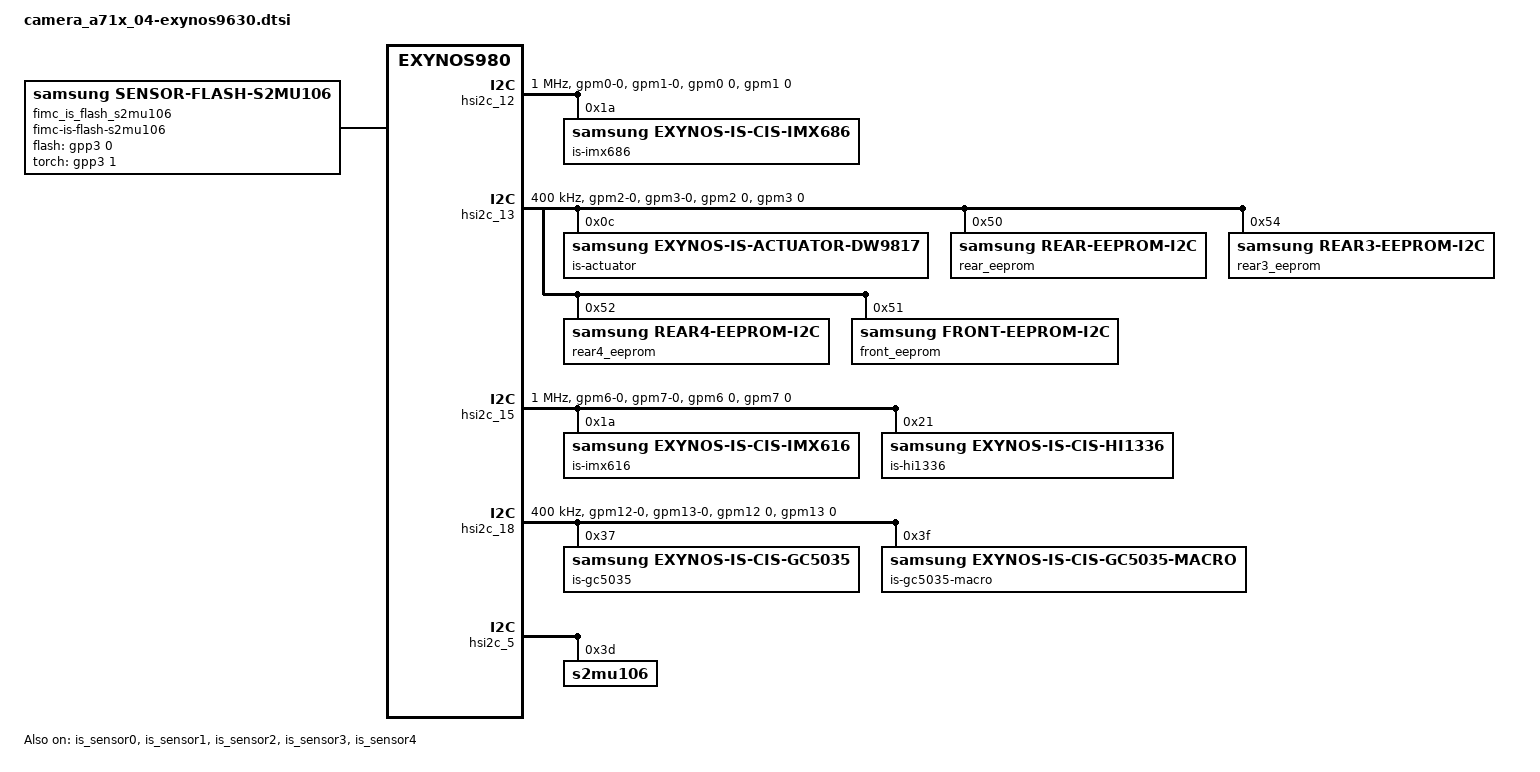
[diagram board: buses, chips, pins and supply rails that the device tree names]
/*
 * Samsung Exynos SoC series Pablo driver
 *
 * Copyright (c) 2019 Samsung Electronics Co., Ltd
 *
 * This program is free software; you can redistribute it and/or modify
 * it under the terms of the GNU General Public License version 2 as
 * published by the Free Software Foundation.
 */

#include <dt-bindings/camera/exynos_is_dt.h>
#include <dt-bindings/interrupt-controller/exynos9630.h>
#include <dt-bindings/clock/exynos9630.h>

#include "../../camera/vendor_dt/a71x/is-vendor-sensor-pwr_aas_v71x_r04.h"
#include "../../camera/vendor_dt/a71x/camera_a71x_common_exynos980.dtsi"
#include "../../camera/module_imx686.dtsi"
#include "../../camera/module_imx616.dtsi"
#include "../../camera/module_hi1336.dtsi"
#include "../../camera/module_gc5035.dtsi"

/***** reference camera node *****/
/ {
	fragment@camera {
		target-path = "/";
		__overlay__ {
			/* REAR CAMERA */
			is_sensor_imx686: is_sensor_imx686@1A {
				pinctrl-names = "pin0", "pin1", "pin2", "release";
				pinctrl-0 = <&sensor_mclk1_out>;
				pinctrl-1 = <&sensor_mclk1_fn>;
				pinctrl-2 = <>;
				pinctrl-3 = <>;

				id = <0>;				/* id of is_sensor*/
				mclk_ch = <1>;
				sensor_i2c_ch = <0>;			/* SENSOR_CONTROL_I2C0 */
				position = <0>;				/* Rear:0 */

				status = "okay";

				af {
					product_name = <26>;		/* ACTUATOR_NAME_DW9817 */
					i2c_ch = <1>;			/* SENSOR_CONTROL_I2C1 */
				};

				flash {
					product_name = <14>;		/* FLADRV_NAME_S2MU106 */
				};

				power_seq {
					use = <1>;
					gpio_mclk = <&gpg0 4 0x1>;

					scenario_normal_on {
						sensor_scenario = <SENSOR_SCENARIO_NORMAL>;
						gpio_scenario = <GPIO_SCENARIO_ON>;

						/* A start node number should be over the 10 for reserved number 0~9. */
						/* pname = "name"; 		pin = <act value dealy voltage>;	gpio = <gpx# # 0x1>; */
						10 { pname = SEN_RST_LOW;	pin = <PIN_OUTPUT 0 1000>;		gpio = IMX686_RST;	};
						20 { pname = "imx686_avdd1";	pin = <PIN_REGULATOR 1 0>;				};	/* AVDD1 2.9V */
						30 { pname = "imx686_avdd2";	pin = <PIN_OUTPUT 1 0>;			gpio = IMX686_AVDD2;	};	/* AVDD2 1.8V */
						40 { pname = "imx686_iovdd";	pin = <PIN_REGULATOR 1 0>;				};	/* IOVDD 1.8V */
						50 { pname = "imx686_dvdd";	pin = <PIN_REGULATOR 1 0>;				};	/* DVDD 1.1V */
						60 { pname = "rcam_af_vdd";	pin = <PIN_REGULATOR 1 1000>;				};	/* RCAM_AF_VDD 2.8V */
						70 { pname = I2C_ON;		pin = <PIN_I2C 1 500>;					};
						80 { pname = MCLK_FUNC;		pin = <PIN_FUNCTION 1 0>;		share;		};
						90 { pname = MCLK_GPIO;		pin = <PIN_MCLK 1 500>;					};
						100 { pname = SEN_RST_HIGH;	pin = <PIN_OUTPUT 1 0>;			gpio = IMX686_RST;	};
						110 { pname = DELAY;		pin = <PIN_NONE 0 12000>;				};
					};

					scenario_normal_off {
						sensor_scenario = <SENSOR_SCENARIO_NORMAL>;
						gpio_scenario = <GPIO_SCENARIO_OFF>;

						/* A start node number should be over the 10 for reserved number 0~9. */
						/* pname = "name"; 		pin = <act value dealy voltage>;	gpio = <gpx# # 0x1>; */
						10 { pname = DELAY; 		pin = <PIN_NONE 0 1000>; 				};
						20 { pname = SEN_RST_LOW; 	pin = <PIN_OUTPUT 0 0>; 		gpio = IMX686_RST;	};
						30 { pname = MCLK_GPIO; 	pin = <PIN_MCLK 0 0>; 					};
						40 { pname = MCLK_FUNC; 	pin = <PIN_FUNCTION 0 0>; 		share;	 	};
						50 { pname = MCLK_FUNC; 	pin = <PIN_FUNCTION 2 1000>; 				};
						60 { pname = MCLK_FUNC;		pin = <PIN_FUNCTION 0 0>;				};
						70 { pname = I2C_OFF; 		pin = <PIN_I2C 0 0>;					};
						80 { pname = "rcam_af_vdd"; 	pin = <PIN_REGULATOR 0 500>; 				};	/* RCAM_AF_VDD 2.8V */
						90 { pname = "imx686_avdd1"; 	pin = <PIN_REGULATOR 0 0>; 				};	/* AVDD1 2.9V */
						100 { pname = "imx686_avdd2"; 	pin = <PIN_OUTPUT 0 0>; 		gpio = IMX686_AVDD2;	};	/* AVDD2 1.8V */
						110 { pname = "imx686_iovdd"; 	pin = <PIN_REGULATOR 0 0>; 				};	/* IOVDD 1.8V */
						120 { pname = "imx686_dvdd"; 	pin = <PIN_REGULATOR 0 0>; 				};	/* DVDD 1.1V */
					};

					scenario_read_rom_on {
						sensor_scenario = <SENSOR_SCENARIO_READ_ROM>;
						gpio_scenario = <GPIO_SCENARIO_ON>;

						/* A start node number should be over the 10 for reserved number 0~9. */
						/* pname = "name";		pin = <act value dealy voltage>;	gpio = <gpx# # 0x1>; */
						10 { pname = "rcam_af_vdd";	pin = <PIN_REGULATOR 1 0>;				};	/* RCAM_AF_VDD 2.8V */
						20 { pname = "imx686_iovdd";	pin = <PIN_REGULATOR 1 0>;				};	/* IOVDD 1.8V */
						30 { pname = DELAY;		pin = <PIN_NONE 0 3000>;				};
					};

					scenario_read_rom_off {
						sensor_scenario = <SENSOR_SCENARIO_READ_ROM>;
						gpio_scenario = <GPIO_SCENARIO_OFF>;

						/* A start node number should be over the 10 for reserved number 0~9. */
						/* pname = "name"; 		pin = <act value dealy voltage>; 	gpio = <gpx# # 0x1>; */
						10 { pname = "rcam_af_vdd";	pin = <PIN_REGULATOR 0 0>;				};	/* RCAM_AF_VDD 2.8V */
						20 { pname = "imx686_iovdd";	pin = <PIN_REGULATOR 0 0>;				};	/* IOVDD 1.8V */
					};

					scenario_vision_on {
						sensor_scenario = <SENSOR_SCENARIO_VISION>;
						gpio_scenario = <GPIO_SCENARIO_ON>;

						/* A start node number should be over the 10 for reserved number 0~9. */
						/* pname = "name";		pin = <act value dealy voltage>;	gpio = <gpx# # 0x1>; */
						10 { pname = SEN_RST_LOW;	pin = <PIN_OUTPUT 0 1000>;		gpio = IMX686_RST;	};
						20 { pname = "imx686_avdd1";	pin = <PIN_REGULATOR 1 0>;				};	/* AVDD1 2.9V */
						30 { pname = "imx686_avdd2";	pin = <PIN_OUTPUT 1 0>;			gpio = IMX686_AVDD2;	};	/* AVDD2 1.8V */
						40 { pname = "imx686_iovdd";	pin = <PIN_REGULATOR 1 0>;				};	/* IOVDD 1.8V */
						50 { pname = "imx686_dvdd";	pin = <PIN_REGULATOR 1 0>;				};	/* DVDD 1.1V */
						60 { pname = "rcam_af_vdd";	pin = <PIN_REGULATOR 1 1000>;				};	/* RCAM_AF_VDD 2.8V */
						70 { pname = I2C_ON;		pin = <PIN_I2C 1 500>;					};
						80 { pname = MCLK_FUNC;		pin = <PIN_FUNCTION 1 0>;			share;	};
						90 { pname = MCLK_GPIO;		pin = <PIN_MCLK 1 500>;					};
						100 { pname = SEN_RST_HIGH;	pin = <PIN_OUTPUT 1 0>;			gpio = IMX686_RST;	};
						110 { pname = DELAY;		pin = <PIN_NONE 0 12000>;				};
					};

					scenario_vision_off {
						sensor_scenario = <SENSOR_SCENARIO_VISION>;
						gpio_scenario = <GPIO_SCENARIO_OFF>;

						/* A start node number should be over the 10 for reserved number 0~9. */
						/* pname = "name"; 		pin = <act value dealy voltage>;	gpio = <gpx# # 0x1>; */
						10 { pname = DELAY; 		pin = <PIN_NONE 0 1000>; 				};
						20 { pname = SEN_RST_LOW; 	pin = <PIN_OUTPUT 0 0>; 		gpio = IMX686_RST;	};
						30 { pname = MCLK_GPIO; 	pin = <PIN_MCLK 0 0>; 					};
						40 { pname = MCLK_FUNC; 	pin = <PIN_FUNCTION 0 0>; 		share; 		};
						50 { pname = MCLK_FUNC; 	pin = <PIN_FUNCTION 2 1000>; 				};
						60 { pname = MCLK_FUNC;		pin = <PIN_FUNCTION 0 0>;				};
						70 { pname = I2C_OFF; 		pin = <PIN_I2C 0 0>;					};
						80 { pname = "rcam_af_vdd"; 	pin = <PIN_REGULATOR 0 500>; 				};	/* RCAM_AF_VDD 2.8V */
						90 { pname = "imx686_avdd1"; 	pin = <PIN_REGULATOR 0 0>; 				};	/* AVDD1 2.9V */
						100 { pname = "imx686_avdd2"; 	pin = <PIN_OUTPUT 0 0>; 		gpio = IMX686_AVDD2;	};	/* AVDD2 1.8V */
						110 { pname = "imx686_iovdd"; 	pin = <PIN_REGULATOR 0 0>; 				};	/* IOVDD 1.8V */
						120 { pname = "imx686_dvdd"; 	pin = <PIN_REGULATOR 0 0>; 				};	/* DVDD 1.1V */
					};
				};
			}; /* is_sensor_imx686: */

			/* FRONT CAMERA */
			is_sensor_imx616: is_sensor_imx616@1A {
				pinctrl-names = "pin0", "pin1", "pin2", "release";
				pinctrl-0 = <>;
				pinctrl-1 = <&sensor_mclk0_out>;
				pinctrl-2 = <&sensor_mclk0_fn>;
				pinctrl-3 = <>;

				id = <1>;				/* id of is_sensor*/
				mclk_ch = <0>;
				sensor_i2c_ch = <3>;			/* SENSOR_CONTROL_I2C3 */
				position = <1>;				/* Front:1 */

				status = "okay";

				power_seq {
					use = <1>;
					gpio_mclk = <&gpg0 3 0x1>;

					scenario_normal_on {
						sensor_scenario = <SENSOR_SCENARIO_NORMAL>;
						gpio_scenario = <GPIO_SCENARIO_ON>;

						/* A start node number should be over the 10 for reserved number 0~9. */
						/* pname = "name";		pin = <act value dealy voltage>;	gpio = <gpx# # 0x1>; */
						10 { pname = SEN_RST_LOW;	pin = <PIN_OUTPUT 0 1000>;		gpio = IMX616_RST;	};
						20 { pname = "imx616_avdd";	pin = <PIN_REGULATOR 1 0>;				}; /* IMX616_AVDD 2.8V */
						30 { pname = "imx616_iovdd";	pin = <PIN_REGULATOR 1 0>;				}; /* IMX616_IOVDD 1.8V */
						40 { pname = "imx616_dvdd";	pin = <PIN_REGULATOR 1 1000>;				}; /* IMX616_DVDD 1.05V */
						50 { pname = I2C_ON;		pin = <PIN_I2C 1 500>;					};
						60 { pname = MCLK_FUNC;		pin = <PIN_FUNCTION 2 0>;				};
						70 { pname = MCLK_GPIO;		pin = <PIN_MCLK 1 500>;					};
						80 { pname = SEN_RST_HIGH; 	pin = <PIN_OUTPUT 1 0>;			gpio = IMX616_RST;	};
						90 { pname = DELAY;		pin = <PIN_NONE 0 13000>;				};
					};

					scenario_normal_off {
						sensor_scenario = <SENSOR_SCENARIO_NORMAL>;
						gpio_scenario = <GPIO_SCENARIO_OFF>;

						/* A start node number should be over the 10 for reserved number 0~9. */
						/* pname = "name";		pin = <act value dealy voltage>;	gpio = <gpx# # 0x1>; */
						10 { pname = DELAY;		pin = <PIN_NONE 0 5000>;				};
						20 { pname = SEN_RST_LOW;	pin = <PIN_OUTPUT 0 0>;			gpio = IMX616_RST;	};
						30 { pname = MCLK_GPIO;		pin = <PIN_MCLK 0 0>;					};
						40 { pname = MCLK_FUNC;		pin = <PIN_FUNCTION 0 0>;				};
						50 { pname = MCLK_FUNC;		pin = <PIN_FUNCTION 1 500>;				};
						60 { pname = MCLK_FUNC;		pin = <PIN_FUNCTION 0 0>;				};
						70 { pname = I2C_OFF;		pin = <PIN_I2C 0 0>;					};
						80 { pname = "imx616_avdd";	pin = <PIN_REGULATOR 0 0>;				}; /* IMX616_AVDD 2.8V */
						90 { pname = "imx616_iovdd";	pin = <PIN_REGULATOR 0 0>;				}; /* IMX616_IOVDD 1.8V */
						100 { pname = "imx616_dvdd";	pin = <PIN_REGULATOR 0 0>;				}; /* IMX616_DVDD 1.05V */
					};

					scenario_read_rom_on {
						sensor_scenario = <SENSOR_SCENARIO_READ_ROM>;
						gpio_scenario = <GPIO_SCENARIO_ON>;

						/* A start node number should be over the 10 for reserved number 0~9. */
						/* pname = "name";		pin = <act value dealy voltage>;	gpio = <gpx# # 0x1>; */
						10 { pname = "imx616_iovdd";	pin = <PIN_REGULATOR 1 0>;				}; /* IMX616_IOVDD 1.8V */
						20 { pname = DELAY;		pin = <PIN_NONE 0 3000>;				};
					};

					scenario_read_rom_off {
						sensor_scenario = <SENSOR_SCENARIO_READ_ROM>;
						gpio_scenario = <GPIO_SCENARIO_OFF>;

						/* A start node number should be over the 10 for reserved number 0~9. */
						/* pname = "name";		pin = <act value dealy voltage>;	gpio = <gpx# # 0x1>; */
						10 { pname = "imx616_iovdd";	pin = <PIN_REGULATOR 0 0>;				}; /* IMX616_IOVDD 1.8V */
					};

					scenario_vision_on {
						sensor_scenario = <SENSOR_SCENARIO_VISION>;
						gpio_scenario = <GPIO_SCENARIO_ON>;

						/* A start node number should be over the 10 for reserved number 0~9. */
						/* pname = "name";		pin = <act value dealy voltage>;	gpio = <gpx# # 0x1>; */
						10 { pname = SEN_RST_LOW;	pin = <PIN_OUTPUT 0 1000>;		gpio = IMX616_RST;	};
						20 { pname = "imx616_avdd";	pin = <PIN_REGULATOR 1 0>;				}; /* IMX616_AVDD 2.8V */
						30 { pname = "imx616_iovdd";	pin = <PIN_REGULATOR 1 0>;				}; /* IMX616_IOVDD 1.8V */
						40 { pname = "imx616_dvdd";	pin = <PIN_REGULATOR 1 1000>;				}; /* IMX616_DVDD 1.05V */
						50 { pname = I2C_ON;		pin = <PIN_I2C 1 500>;					};
						60 { pname = MCLK_FUNC;		pin = <PIN_FUNCTION 2 0>;				};
						70 { pname = MCLK_GPIO;		pin = <PIN_MCLK 1 500>;					};
						80 { pname = SEN_RST_HIGH; 	pin = <PIN_OUTPUT 1 0>;			gpio = IMX616_RST;	};
						90 { pname = DELAY;		pin = <PIN_NONE 0 13000>;				};
					};

					scenario_vision_off {
						sensor_scenario = <SENSOR_SCENARIO_VISION>;
						gpio_scenario = <GPIO_SCENARIO_OFF>;

						/* A start node number should be over the 10 for reserved number 0~9. */
						/* pname = "name";		pin = <act value dealy voltage>; 	gpio = <gpx# # 0x1>; */
						10 { pname = DELAY;		pin = <PIN_NONE 0 5000>;				};
						20 { pname = SEN_RST_LOW;	pin = <PIN_OUTPUT 0 0>;			gpio = IMX616_RST;	};
						30 { pname = MCLK_GPIO;		pin = <PIN_MCLK 0 0>;					};
						40 { pname = MCLK_FUNC;		pin = <PIN_FUNCTION 0 0>;				};
						50 { pname = MCLK_FUNC;		pin = <PIN_FUNCTION 1 500>;				};
						60 { pname = MCLK_FUNC;		pin = <PIN_FUNCTION 0 0>;				};
						70 { pname = I2C_OFF;		pin = <PIN_I2C 0 0>;					};
						80 { pname = "imx616_avdd";	pin = <PIN_REGULATOR 0 0>;				}; /* IMX616_AVDD 2.8V */
						90 { pname = "imx616_iovdd";	pin = <PIN_REGULATOR 0 0>;				}; /* IMX616_IOVDD 1.8V */
						100 { pname = "imx616_dvdd";	pin = <PIN_REGULATOR 0 0>;				}; /* IMX616_DVDD 1.05V */
					};
				};
			}; /* is_sensor_imx616: is_sensor_imx616@1A { */

			/* SUB CAMERA */
			is_sensor_gc5035: is_sensor_gc5035@6E {
				pinctrl-names = "pin0", "pin1", "pin2", "release";
				pinctrl-0 = <>;
				pinctrl-1 = <&sensor_mclk2_out>;
				pinctrl-2 = <&sensor_mclk2_fn>;
				pinctrl-3 = <>;

				id = <2>;				/* id of is_sensor*/
				mclk_ch = <2>;
				sensor_i2c_ch = <6>;			/* SENSOR_CONTROL_I2C3 */
				position = <2>;				/* Rear_Bokeh(SUB): 2 */

				status = "okay";

				power_seq {
					use = <1>;
					gpio_mclk = <&gpg0 5 0x1>;

					scenario_normal_on {
						sensor_scenario = <SENSOR_SCENARIO_NORMAL>;
						gpio_scenario = <GPIO_SCENARIO_ON>;

						/* A start node number should be over the 10 for reserved number 0~9. */
						/* pname = "name";		pin = <act value dealy voltage>;	gpio = <gpx# # 0x1>; */
						10 { pname = SEN_RST_LOW;	pin = <PIN_OUTPUT 0 0>;			gpio = GC5035_RST;	};
						20 { pname = "gc5035_iovdd";	pin = <PIN_REGULATOR 1 500>;				}; /* CAM_VDDIO_1P8 */
						30 { pname = "gc5035_dvdd";	pin = <PIN_REGULATOR 1 500>;				};
						40 { pname = "gc5035_avdd";	pin = <PIN_REGULATOR 1 1000>;				};
						50 { pname = SEN_RST_HIGH;	pin = <PIN_OUTPUT 1 1000>;		gpio = GC5035_RST;	};
						60 { pname = I2C_ON;		pin = <PIN_I2C 1 0>;					};
						70 { pname = MCLK_FUNC;		pin = <PIN_FUNCTION 2 1000>;				}; /* dslim. remove delay */
						80 { pname = MCLK_GPIO;		pin = <PIN_MCLK 1 0>;					};
						90 { pname = DELAY;		pin = <PIN_NONE 0 2000>;				};
					};

					scenario_normal_off {
						sensor_scenario = <SENSOR_SCENARIO_NORMAL>;
						gpio_scenario = <GPIO_SCENARIO_OFF>;

						/* A start node number should be over the 10 for reserved number 0~9. */
						/* pname = "name";		pin = <act value dealy voltage>;	gpio = <gpx# # 0x1>; */
						10 { pname = DELAY;		pin = <PIN_NONE 0 5000>;				};
						20 { pname = MCLK_GPIO;		pin = <PIN_MCLK 0 0>;					};
						30 { pname = MCLK_FUNC;		pin = <PIN_FUNCTION 0 0>;				};
						40 { pname = MCLK_FUNC;		pin = <PIN_FUNCTION 1 500>;				};
						50 { pname = MCLK_FUNC;		pin = <PIN_FUNCTION 0 0>;				};
						60 { pname = I2C_OFF;		pin = <PIN_I2C 0 0>;					};
						70 { pname = SEN_RST_LOW;	pin = <PIN_OUTPUT 0 0>;			gpio = GC5035_RST;	};
						80 { pname = DELAY;		pin = <PIN_NONE 0 2000>;				};
						90 { pname = "gc5035_avdd";	pin = <PIN_REGULATOR 0 500>;				};
						100 { pname = "gc5035_dvdd";	pin = <PIN_REGULATOR 0 500>;				};
						110 { pname = "gc5035_iovdd";	pin = <PIN_REGULATOR 0 0>;				}; /* CAM_VDDIO_1P8 */
					};
				}; /* power_seq */
			}; /* is_sensor_gc5035 */

			/* ULTRAWIDE CAMERA */
			is_sensor_hi1336: is_sensor_hi1336@40 {
				pinctrl-names = "pin0", "pin1", "pin2", "release";
				pinctrl-0 = <>;
				pinctrl-1 = <&sensor_mclk3_out>;
				pinctrl-2 = <&sensor_mclk3_fn>;
				pinctrl-3 = <>;

				id = <3>;				/* id of is_sensor*/
				mclk_ch = <3>;
				sensor_i2c_ch = <3>;			/* SENSOR_CONTROL_I2C3 */
				position = <4>;				/* Rear_UW(Rear3): 4 */

				status = "okay";

				power_seq {
					use = <1>;
					gpio_mclk = <&gpg1 0 0x1>;

					scenario_normal_on {
						sensor_scenario = <SENSOR_SCENARIO_NORMAL>;
						gpio_scenario = <GPIO_SCENARIO_ON>;

						/* A start node number should be over the 10 for reserved number 0~9. */
						/* pname = "name";		pin = <act value dealy voltage>;	gpio = <gpx# # 0x1>; */
						10 { pname = SEN_RST_LOW;	pin = <PIN_OUTPUT 0 1000>; 		gpio = HI1336_RST;	};
						20 { pname = "hi1336_avdd";	pin = <PIN_REGULATOR 1 0>; 				}; /* RCAM3_AVDD_2P8 */
						30 { pname = "hi1336_iovdd";	pin = <PIN_REGULATOR 1 0>;				}; /* CAM_VDDIO_1P8 */
						40 { pname = "hi1336_dvdd";	pin = <PIN_REGULATOR 1 0>;				}; /* RCAM3_DVDD_1P1 */
						50 { pname = I2C_ON;		pin = <PIN_I2C 1 500>;					};
						60 { pname = MCLK_FUNC;		pin = <PIN_FUNCTION 2 0>;				};
						70 { pname = MCLK_GPIO;		pin = <PIN_MCLK 1 500>;					};
						80 { pname = SEN_RST_HIGH;	pin = <PIN_OUTPUT 1 0>;			gpio = HI1336_RST;	};
						90 { pname = DELAY;		pin = <PIN_NONE 0 1000>;				};
					};

					scenario_normal_off {
						sensor_scenario = <SENSOR_SCENARIO_NORMAL>;
						gpio_scenario = <GPIO_SCENARIO_OFF>;

						/* A start node number should be over the 10 for reserved number 0~9. */
						/* pname = "name"; 		pin = <act value dealy voltage>; 	gpio = <gpx# # 0x1>; */
						10 { pname = DELAY;		pin = <PIN_NONE 0 5000>;				};
						20 { pname = SEN_RST_LOW;	pin = <PIN_OUTPUT 0 500>;		gpio = HI1336_RST;	};
						30 { pname = MCLK_GPIO;		pin = <PIN_MCLK 0 0>;					};
						40 { pname = MCLK_FUNC;		pin = <PIN_FUNCTION 0 0>;				};
						50 { pname = MCLK_FUNC;		pin = <PIN_FUNCTION 1 500>;				};
						60 { pname = MCLK_FUNC;		pin = <PIN_FUNCTION 0 0>;				};
						70 { pname = I2C_OFF;		pin = <PIN_I2C 0 500>;					};
						80 { pname = "hi1336_avdd";	pin = <PIN_REGULATOR 0 0>;				}; /* RCAM3_AVDD_2P8 */
						90 { pname = "hi1336_iovdd";	pin = <PIN_REGULATOR 0 0>;				}; /* CAM_VDDIO_1P8 */
						100 { pname = "hi1336_dvdd";	pin = <PIN_REGULATOR 0 0>;				}; /* RCAM3_DVDD_1P1 */
					};

					scenario_read_rom_on {
						sensor_scenario = <SENSOR_SCENARIO_READ_ROM>;
						gpio_scenario = <GPIO_SCENARIO_ON>;

						/* A start node number should be over the 10 for reserved number 0~9. */
						/* pname = "name"; pin = <act value dealy voltage>; gpio = <gpx# # 0x1>; */
						10 { pname = "hi1336_iovdd";	pin = <PIN_REGULATOR 1 0>;				}; /* CAM_VDDIO_1P8 */
						20 { pname = DELAY;		pin = <PIN_NONE 0 3000>;				};
					};

					scenario_read_rom_off {
						sensor_scenario = <SENSOR_SCENARIO_READ_ROM>;
						gpio_scenario = <GPIO_SCENARIO_OFF>;

						/* A start node number should be over the 10 for reserved number 0~9. */
						/* pname = "name"; pin = <act value dealy voltage>; gpio = <gpx# # 0x1>; */
						10 { pname = "hi1336_iovdd";	pin = <PIN_REGULATOR 0 0>;				}; /* CAM_VDDIO_1P8 */
					};
				};
			}; /* is_sensor_hi1336 */

			/* MACRO CAMERA */
			is_sensor_gc5035_macro: is_sensor_gc5035_macro@20 {
				pinctrl-names = "pin0", "pin1", "pin2", "release";
				pinctrl-0 = <>;
				pinctrl-1 = <&sensor_mclk3_out>;
				pinctrl-2 = <&sensor_mclk3_fn>;
				pinctrl-3 = <>;

				id = <4>;				/* id of is_sensor*/
				mclk_ch = <3>;
				sensor_i2c_ch = <6>;			/* SENSOR_CONTROL_I2C3 */
				position = <6>;				/* Rear4: 6 */

				status = "okay";

				flash {
					product_name = <14>;		/* FLADRV_NAME_S2MU106 */
				};

				power_seq {
					use = <1>;
					gpio_mclk = <&gpg1 0 0x1>;

					scenario_normal_on {
						sensor_scenario = <SENSOR_SCENARIO_NORMAL>;
						gpio_scenario = <GPIO_SCENARIO_ON>;

						/* A start node number should be over the 10 for reserved number 0~9. */
						/* pname = "name";			pin = <act value dealy voltage>;	gpio = <gpx# # 0x1>; */
						10 { pname = SEN_RST_LOW;		pin = <PIN_OUTPUT 0 0>;	 		gpio = GC5035_MACRO_RST;	};
						20 { pname = "gc5035_macro_iovdd";	pin = <PIN_REGULATOR 1 500>;				};	/* CAM_VDDIO_1P8 */
						30 { pname = "gc5035_macro_dvdd";	pin = <PIN_REGULATOR 1 500>;				};
						40 { pname = "gc5035_macro_avdd";	pin = <PIN_REGULATOR 1 1000>;				};
						50 { pname = SEN_RST_HIGH;		pin = <PIN_OUTPUT 1 1000>;		gpio = GC5035_MACRO_RST;	};
						60 { pname = I2C_ON;			pin = <PIN_I2C 1 0>;					};
						70 { pname = MCLK_FUNC;			pin = <PIN_FUNCTION 2 1000>;				};	/* dslim. remove delay */
						80 { pname = MCLK_GPIO;			pin = <PIN_MCLK 1 0>;					};
						90 { pname = DELAY;			pin = <PIN_NONE 0 2000>;				};
					};

					scenario_normal_off {
						sensor_scenario = <SENSOR_SCENARIO_NORMAL>;
						gpio_scenario = <GPIO_SCENARIO_OFF>;

						/* A start node number should be over the 10 for reserved number 0~9. */
						/* pname = "name";			pin = <act value dealy voltage>;	gpio = <gpx# # 0x1>; */
						10 { pname = DELAY;			pin = <PIN_NONE 0 5000>;		 			};
						20 { pname = MCLK_GPIO;			pin = <PIN_MCLK 0 0>;						};
						30 { pname = MCLK_FUNC;			pin = <PIN_FUNCTION 0 0>;					};
						40 { pname = MCLK_FUNC;			pin = <PIN_FUNCTION 1 500>;					};
						50 { pname = MCLK_FUNC;			pin = <PIN_FUNCTION 0 0>;					};
						60 { pname = I2C_OFF;			pin = <PIN_I2C 0 0>;						};
						70 { pname = SEN_RST_LOW;		pin = <PIN_OUTPUT 0 0>;			gpio = GC5035_MACRO_RST;	};
						80 { pname = DELAY;			pin = <PIN_NONE 0 2000>;					};
						90 { pname = "gc5035_macro_avdd";	pin = <PIN_REGULATOR 0 500>;					};
						100 { pname = "gc5035_macro_dvdd";	pin = <PIN_REGULATOR 0 500>;					};
						110 { pname = "gc5035_macro_iovdd";	pin = <PIN_REGULATOR 0 0>;					};
					};

					scenario_read_rom_on {
						sensor_scenario = <SENSOR_SCENARIO_READ_ROM>;
						gpio_scenario = <GPIO_SCENARIO_ON>;

						10 { pname = "gc5035_macro_iovdd";	pin = <PIN_REGULATOR 1 0>;			};/* CAM_VDDIO_1P8 */
						20 { pname = DELAY;			pin = <PIN_NONE 0 3000>;			};
					};

					scenario_read_rom_off {
						sensor_scenario = <SENSOR_SCENARIO_READ_ROM>;
						gpio_scenario = <GPIO_SCENARIO_OFF>;

						10 { pname = "gc5035_macro_iovdd";	pin = <PIN_REGULATOR 0 0>;			};/* CAM_VDDIO_1P8 */
					};
				}; /* power_seq */
			}; /* is_sensor_gc5035_macro */

			fimc_is_flash_s2mu106: fimc-is-flash-s2mu106@17 {
				compatible = "samsung,sensor-flash-s2mu106";
				id = <0 4>;
				status = "okay";

				flash-gpio = <&gpp3 0 0>;
				torch-gpio = <&gpp3 1 0>;
			};
		}; /* end of __overlay__ */
	}; /* end of fragment */
}; /* end of root */


/***** reference module node *****/

/***** reference symbol node *****/

&exynos_is {
	secure_mem_info = <0xE1900000 0x1EE0000>;
	vender {
		rear_sensor_id = <123>;      /* SENSOR_NAME_IMX686 */
		front_sensor_id = <121>;    /* SENSOR_NAME_IMX616 */
		rear2_sensor_id = <210>;    /* SENSOR_NAME_GC5035 */
		rear3_sensor_id = <211>;    /* SENSOR_NAME_HI1336 */
		rear4_sensor_id = <210>;    /* SENSOR_NAME_GC5035 */
		need_i2c_config;
		//use_module_check;
		//skip_cal_loading;
		//check_sensor_vendor;

		/* for Factory Test */
		max_supported_camera = <6>;
		supported_cameraId = <0 1 23 50 52 54>;
		/* REAR, FRONT, DUAL_REAR_PORTRAIT_WIDE(Bokeh), REAR_2(UW), REAR_3(SUB), REAR_4(MACRO) */

		max_camera_num = <5>;
		camera_info0 {                 /* 0 : rear - IMX686 */
			isp = <0>;             /* 0 : INT , 1 : EXT , 2 : SOC */
			cal_memory = <2>;      /* 0 : N , 1 : FROM , 2 : EEPROM , 3 : OTP  */
			read_version = <0>;    /* 0 : SYSFS , 1 : CAMON */
			core_voltage = <0>;    /* 0 : N , 1 : Y  */
			upgrade = <0>;         /* 0 : N , 1 : SYSFS , 2 : CAMON */
			fw_write = <0>;        /* 0 : N , 1 : OS, 2 : SD, 3 : ALL */
			fw_dump = <0>;         /* 0 : N , 1 : Y */
			companion = <0>;       /* 0 : N , 1 : Y  */
			ois = <0>;             /* 0 : N , 1 : Y  */
			valid = <1>;           /* 0 : INVALID, 1 : VALID */
			dual_open = <0>;       /* 0 : SINGLE_OPEN , 1 : DUAL_OPEN */
			position = <0>;        /* 0 : Rear, 1:Front, 2:Rear2, 3:Front2, 4:Rear3, 5:Front3, 6:Rear4*/
		};
		camera_info1 {                 /* 1 : front1 - IMX616 */
			isp = <0>;             /* 0 : INT , 1 : EXT , 2 : SOC */
			cal_memory = <2>;      /* 0 : N , 1 : FROM , 2 : EEPROM , 3 : OTP  */
			read_version = <0>;    /* 0 : SYSFS , 1 : CAMON */
			core_voltage = <0>;    /* 0 : N , 1 : Y  */
			upgrade = <0>;         /* 0 : N , 1 : SYSFS , 2 : CAMON */
			fw_write = <0>;        /* 0 : N , 1 : OS, 2 : SD, 3 : ALL */
			fw_dump = <0>;         /* 0 : N , 1 : Y */
			companion = <0>;       /* 0 : N , 1 : Y  */
			ois = <0>;             /* 0 : N , 1 : Y  */
			valid = <1>;           /* 0 : INVALID, 1 : VALID */
			dual_open = <0>;       /* 0 : SINGLE_OPEN , 1 : DUAL_OPEN */
			position = <1>;        /* 0 : Rear, 1:Front, 2:Rear2, 3:Front2, 4:Rear3, 5:Front3, 6:Rear4*/
		};
		camera_info2 {                 /* 2 : rear2 - GC5035 */
			isp = <0>;             /* 0 : INT , 1 : EXT , 2 : SOC */
			cal_memory = <2>;      /* 0 : N , 1 : FROM , 2 : EEPROM , 3 : OTP  */
			read_version = <0>;    /* 0 : SYSFS , 1 : CAMON */
			core_voltage = <0>;    /* 0 : N , 1 : Y  */
			upgrade = <0>;         /* 0 : N , 1 : SYSFS , 2 : CAMON */
			fw_write = <0>;        /* 0 : N , 1 : OS, 2 : SD, 3 : ALL */
			fw_dump = <0>;         /* 0 : N , 1 : Y */
			companion = <0>;       /* 0 : N , 1 : Y  */
			ois = <0>;             /* 0 : N , 1 : Y  */
			valid = <1>;           /* 0 : INVALID, 1 : VALID */
			dual_open = <1>;       /* 0 : SINGLE_OPEN , 1 : DUAL_OPEN */
			position = <2>;        /* 0 : Rear, 1:Front, 2:Rear2, 3:Front2, 4:Rear3, 5:Front3, 6:Rear4*/
		};
		camera_info3 {                 /* 3 : rear3 - HI1336 */
			isp = <0>;             /* 0 : INT , 1 : EXT , 2 : SOC */
			cal_memory = <2>;      /* 0 : N , 1 : FROM , 2 : EEPROM , 3 : OTP  */
			read_version = <0>;    /* 0 : SYSFS , 1 : CAMON */
			core_voltage = <0>;    /* 0 : N , 1 : Y  */
			upgrade = <0>;         /* 0 : N , 1 : SYSFS , 2 : CAMON */
			fw_write = <0>;        /* 0 : N , 1 : OS, 2 : SD, 3 : ALL */
			fw_dump = <0>;         /* 0 : N , 1 : Y */
			companion = <0>;       /* 0 : N , 1 : Y  */
			ois = <0>;             /* 0 : N , 1 : Y  */
			valid = <1>;           /* 0 : INVALID, 1 : VALID */
			dual_open = <0>;       /* 0 : SINGLE_OPEN , 1 : DUAL_OPEN */
			position = <4>;        /* 0 : Rear, 1:Front, 2:Rear2, 3:Front2, 4:Rear3, 5:Front3, 6:Rear4*/
		};
		camera_info4 {                 /* 4 : rear4 - GC5035 */
			isp = <0>;             /* 0 : INT , 1 : EXT , 2 : SOC */
			cal_memory = <2>;      /* 0 : N , 1 : FROM , 2 : EEPROM , 3 : OTP  */
			read_version = <0>;    /* 0 : SYSFS , 1 : CAMON */
			core_voltage = <0>;    /* 0 : N , 1 : Y  */
			upgrade = <0>;         /* 0 : N , 1 : SYSFS , 2 : CAMON */
			fw_write = <0>;        /* 0 : N , 1 : OS, 2 : SD, 3 : ALL */
			fw_dump = <0>;         /* 0 : N , 1 : Y */
			companion = <0>;       /* 0 : N , 1 : Y  */
			ois = <0>;             /* 0 : N , 1 : Y  */
			valid = <1>;           /* 0 : INVALID, 1 : VALID */
			dual_open = <0>;       /* 0 : SINGLE_OPEN , 1 : DUAL_OPEN */
			position = <6>;        /* 0 : Rear, 1:Front, 2:Rear2, 3:Front2, 4:Rear3, 5:Front3, 6:Rear4*/
		};
	};

	lic_offsets {
		/* 3AA = <setA lic offset0, setA lic offset1, set A trigger context */
		/*		setB lic offset0, setB lic offset1, set B trigger context> */
		/* 4672: 4640x4352 */
		/* 5824: 5804x4352 */
		3AA = <4672 10496 1 4064 13344 2>;
	};
};

&pinctrl_1 {
	/* N/A */
	hsi2c_14_bus: hsi2c_14-bus {
		samsung,pins = "gpm4-0", "gpm5-0";
		samsung,pin-function = <2>;
		samsung,pin-pud = <0>;
		samsung,pin-drv = <0>;
	};

	hsi2c_14_bus_in: hsi2c_14-bus-in {
		samsung,pins = "gpm4-0", "gpm5-0";
		samsung,pin-function = <0>;
		samsung,pin-pud = <0>;
		samsung,pin-drv = <0>;
	};

	/* REAR CAM1 */
	hsi2c_12_bus: hsi2c_12-bus {
		samsung,pins = "gpm0-0", "gpm1-0";
		samsung,pin-function = <2>;
		samsung,pin-pud = <0>;
		samsung,pin-drv = <0>;
	};

	hsi2c_12_bus_in: hsi2c_12-bus-in {
		samsung,pins = "gpm0-0", "gpm1-0";
		samsung,pin-function = <0>;
		samsung,pin-pud = <0>;
		samsung,pin-drv = <0>;
	};

	/* REAR CAM1 ACTUATOR, REAR CAM1 EEP, FRONT EEP, REAR CAM3 EEP, REAR CAM4 EEP */
	hsi2c_13_bus: hsi2c_13-bus {
		samsung,pins = "gpm2-0", "gpm3-0";
		samsung,pin-function = <3>;
		samsung,pin-pud = <0>;
		samsung,pin-drv = <0>;
	};

	hsi2c_13_bus_in: hsi2c_13-bus-in {
		samsung,pins = "gpm2-0", "gpm3-0";
		samsung,pin-function = <0>;
		samsung,pin-pud = <0>;
		samsung,pin-drv = <0>;
	};

	/* FRONT, REAR CAM3(UW) */
	hsi2c_15_bus: hsi2c_15-bus {
		samsung,pins = "gpm6-0", "gpm7-0";
		samsung,pin-function = <3>;
		samsung,pin-pud = <0>;
		samsung,pin-drv = <0>;
	};

	hsi2c_15_bus_in: hsi2c_15-bus-in {
		samsung,pins = "gpm6-0", "gpm7-0";
		samsung,pin-function = <0>;
		samsung,pin-pud = <0>;
		samsung,pin-drv = <0>;
	};

	/* REAR CAM2(SUB-BOKEH), REAR CAM4(MACRO) */
	hsi2c_18_bus: hsi2c_18-bus {
		samsung,pins = "gpm12-0", "gpm13-0";
		samsung,pin-function = <2>;
		samsung,pin-pud = <0>;
		samsung,pin-drv = <0>;
	};

	hsi2c_18_bus_in: hsi2c_18-bus-in {
		samsung,pins = "gpm12-0", "gpm13-0";
		samsung,pin-function = <0>;
		samsung,pin-pud = <0>;
		samsung,pin-drv = <0>;
	};
};

&pinctrl_5 {
	flash_off_state: flash_off_state {
		samsung,pins = "gpp3-1";
		samsung,pin-con-pdn = <3>;
		samsung,pin-pud-pdn = <0>;	
	};
};

/* USI_CMGP00 - hsi2c@11500000 : SENSOR_CONTROL_I2C0*/
&hsi2c_12 {
	#address-cells = <1>;
	#size-cells = <0>;
	gpios = <&gpm0 0 0 &gpm1 0 0>;
	status = "okay";
	clock-frequency = <1000000>;
	samsung,reset-before-trans;
	samsung,fast-plus-mode;		/* 1Mhz */

	pinctrl-names = "default","on_i2c","off_i2c";
	pinctrl-0 = <&hsi2c_12_bus_in>;
	pinctrl-1 = <&hsi2c_12_bus>;
	pinctrl-2 = <&hsi2c_12_bus_in>;

	is-imx686@1A {
		compatible = "samsung,exynos-is-cis-imx686";
		reg = <0x1A>;			/* 1 bit right shift */
		id = <0>;					/* matching is_sensor id */
		sensor_f_number = <180>;	/* f number 1.8 */
		setfile = "setB";			/* first Setfile of MCD is 'setB' */
	};
};

/* USI_CMGP00_I2C - hsi2c@11510000 : SENSOR_CONTROL_I2C1 */
&hsi2c_13 {
	#address-cells = <1>;
	#size-cells = <0>;
	gpios = <&gpm2 0 0 &gpm3 0 0>;
	status = "okay";
	clock-frequency = <400000>;
	samsung,reset-before-trans;

	pinctrl-names = "default","on_i2c","off_i2c";
	pinctrl-0 = <&hsi2c_13_bus_in>;
	pinctrl-1 = <&hsi2c_13_bus>;
	pinctrl-2 = <&hsi2c_13_bus_in>;

	is-actuator@18 {
		compatible = "samsung,exynos-is-actuator-dw9817";
		reg = <0x0C>;		/* 7bit-addr */
		id = <0>;				/* matching sensor id */
		place = <0>;
	};

	rear_eeprom@A0 {
		compatible = "samsung,rear-eeprom-i2c";
		reg = <0x50>;			/* 7bit-addr */

		use_common_rom_position = <2>;
	};

	rear3_eeprom@A8 {
		compatible = "samsung,rear3-eeprom-i2c";
		reg = <0x54>;			/* 7bit-addr */
	};

	rear4_eeprom@A4 {
		compatible = "samsung,rear4-eeprom-i2c";
		reg = <0x52>;			/* 7bit-addr */
	};

	front_eeprom@A2 {
		compatible = "samsung,front-eeprom-i2c";
		reg = <0x51>;			/* 7bit-addr */
	};
};

/* USI_CMGP01_I2C - hsi2c@11530000 : SENSOR_CONTROL_I2C3*/
&hsi2c_15 {
	#address-cells = <1>;
	#size-cells = <0>;
	gpios = <&gpm6 0 0 &gpm7 0 0>;
	status = "okay";
	clock-frequency = <1000000>;
	samsung,reset-before-trans;
	samsung,fast-plus-mode;	/* 1Mhz */

	pinctrl-names = "default","on_i2c","off_i2c";
	pinctrl-0 = <&hsi2c_15_bus_in>;
	pinctrl-1 = <&hsi2c_15_bus>;
	pinctrl-2 = <&hsi2c_15_bus_in>;

	is-imx616@1A {
		compatible = "samsung,exynos-is-cis-imx616";
		reg = <0x1A>;			/* 1 bit right shift */
		id = <1>;			/* matching is_sensor id */
		sensor_f_number = <220>;	/* f number 2.0 */
		setfile = "setB";
		use_initial_ae;			/* for initial AE of face unlock */
		/* use_3hdr; */			/* enable 3hdr with using setB */
	};

	is-hi1336@40 {
		compatible = "samsung,exynos-is-cis-hi1336";
		reg = <0x21>;                   /* 1 bit right shift */
		id = <3>;                           /* matching fimc_is_sensor id */
		sensor_f_number = <220>;        /* f number 2.0 */
		setfile = "setB";
	};
};

/* USI_CMGP03 - hsi2c@11560000 : SENSOR_CONTROL_I2C6*/
&hsi2c_18 {
	#address-cells = <1>;
	#size-cells = <0>;
	gpios = <&gpm12 0 0 &gpm13 0 0>;
	status = "okay";
	clock-frequency = <400000>;
	samsung,reset-before-trans;

	pinctrl-names = "default","on_i2c","off_i2c";
	pinctrl-0 = <&hsi2c_18_bus_in>;
	pinctrl-1 = <&hsi2c_18_bus>;
	pinctrl-2 = <&hsi2c_18_bus_in>;

	is-gc5035@6E {
		compatible = "samsung,exynos-is-cis-gc5035";
		reg = <0x37>;                /* 1 bit right shift */
		id = <2>;                    /* matching is_sensor id */
		sensor_f_number = <220>;     /* f number 2.2 */
		setfile = "setB";
		use_initial_ae;              /* for initial AE of bokeh */
	};

	is-gc5035-macro@7E {
		compatible = "samsung,exynos-is-cis-gc5035-macro";
		reg = <0x3F>;                /* 1 bit right shift */
		id = <4>;                    /* matching is_sensor id */
		sensor_f_number = <240>;     /* f number 2.2 */
		setfile = "setB";
		use_initial_ae;              /* for initial AE of bokeh */
	};
};

&is_sensor0 {
	#address-cells = <1>;
	#size-cells = <1>;
	scenario = <SENSOR_SCENARIO_NORMAL>;	/* Normal, Vision, OIS etc */
	id = <0>;
	csi_ch = <1>;
	dma_ch = <1 1 1 1 1 1 1 1>;
	vc_ch = <0 1 2 3 0 1 2 3>;
	flite_ch = <FLITE_ID_NOTHING>;
	is_bns = <0>;
	use_cphy = <1>;

	use_ssvc2_internal;
	use_ssvc3_internal;

	status = "okay";

	reg = <0x0 0x15040000 0x1000>, /* MIPI-CSI1 */
		<0x0 0x150D0000 0x10000>; /* PHY: M0S4S4S4S4S2 */
	interrupts = <0 INTREQ__CSIS1 IRQ_TYPE_LEVEL_HIGH>, /*MIPI-CSI1 */
		<0 INTREQ__CSIS_DMA1 IRQ_TYPE_LEVEL_HIGH>,
		<0 INTREQ__CSIS_DMA1 IRQ_TYPE_LEVEL_HIGH>,
		<0 INTREQ__CSIS_DMA1 IRQ_TYPE_LEVEL_HIGH>,
		<0 INTREQ__CSIS_DMA1 IRQ_TYPE_LEVEL_HIGH>,
		<0 INTREQ__CSIS_DMA1 IRQ_TYPE_LEVEL_HIGH>,
		<0 INTREQ__CSIS_DMA1 IRQ_TYPE_LEVEL_HIGH>,
		<0 INTREQ__CSIS_DMA1 IRQ_TYPE_LEVEL_HIGH>,
		<0 INTREQ__CSIS_DMA1 IRQ_TYPE_LEVEL_HIGH>;
	interrupt-names = "csi",
		"mode0_VC0", "mode0_VC1","mode0_VC2","mode0_VC3",
		"mode1_VC0", "mode1_VC1","mode1_VC2","mode1_VC3";
	phys = <&mipi_phy_csis1_m0s4s4s4s4s2 0>;
	/* without PAF HW */
	sensor0_ch_mode0: sensor0-ch-mode0 {
		reg = <0x150C2000 0x100>, /* DMA1 VC0 */
			<0x150C2400 0x100>, /* DMA1 Common */
			<0x150C2100 0x100>, /* DMA1 VC1 */
			<0x150C2400 0x100>, /* DMA1 Common */
			<0x150C2200 0x100>, /* DMA1 VC2 */
			<0x150C2400 0x100>, /* DMA1 Common */
			<0x150C2300 0x100>, /* DMA1 VC3 */
			<0x150C2400 0x100>; /* DMA1 Common */
		mux_reg = <0x15020418 0x4>; /* DMA1 input mux */
	};

	/* with PAF HW */
	sensor0_ch_mode1: sensor0-ch-mode1 {
		reg = <0x150C2000 0x100>, /* DMA1 VC0 */
			<0x150C2400 0x100>, /* DMA1 Common */
			<0x150C2100 0x100>, /* DMA1 VC1 */
			<0x150C2400 0x100>, /* DMA1 Common */
			<0x150C2200 0x100>, /* DMA1 VC2 */
			<0x150C2400 0x100>, /* DMA1 Common */
			<0x150C2300 0x100>, /* DMA1 VC3 */
			<0x150C2400 0x100>; /* DMA1 Common */
		mux_reg = <0x15020418 0x4>; /* DMA1 input mux */
	};
};

&is_sensor1 {
	#address-cells = <1>;
	#size-cells = <1>;
	scenario = <SENSOR_SCENARIO_NORMAL>;    /* Normal, Vision, OIS etc */
	id = <1>;
	csi_ch = <0>;
	dma_ch = <0 0 0 0>;
	vc_ch = <0 1 2 3>;
	flite_ch = <FLITE_ID_NOTHING>;
	is_bns = <0>;

	use_ssvc2_internal;
	use_ssvc3_internal;

	status = "okay";
	reg = <0x0 0x15030000 0x1000>, /* MIPI-CSI0 */
		<0x0 0x150D0000 0x10000>; /* PHY: M0S4S4S4S4S2 */
	interrupts = <0 INTREQ__CSIS0 IRQ_TYPE_LEVEL_HIGH>, /* MIPI-CSI0 */
		<0 INTREQ__CSIS_DMA0 IRQ_TYPE_LEVEL_HIGH>,
		<0 INTREQ__CSIS_DMA0 IRQ_TYPE_LEVEL_HIGH>,
		<0 INTREQ__CSIS_DMA0 IRQ_TYPE_LEVEL_HIGH>,
		<0 INTREQ__CSIS_DMA0 IRQ_TYPE_LEVEL_HIGH>;
	interrupt-names = "csi",
		"mode0_VC0", "mode0_VC1","mode0_VC2","mode0_VC3";
	phys = <&mipi_phy_csis0_m0s4s4s4s4s2 0>;
	phy-names = "csis_dphy";
	/* without PAF HW */
	sensor1_ch_mode0: sensor1-ch-mode0 {
		reg = <0x150C1000 0x100>, /* DMA0 VC0 */
			<0x150C1400 0x100>, /* DMA0 Common */
			<0x150C1100 0x100>, /* DMA0 VC1 */
			<0x150C1400 0x100>, /* DMA0 Common */
			<0x150C1200 0x100>, /* DMA0 VC2 */
			<0x150C1400 0x100>, /* DMA0 Common */
			<0x150C1300 0x100>, /* DMA0 VC3 */
			<0x150C1400 0x100>; /* DMA0 Common */
		mux_reg = <0x15020414 0x4>; /* DMA0 input mux */
	};
};

&is_sensor2 {
	#address-cells = <1>;
	#size-cells = <1>;
	scenario = <SENSOR_SCENARIO_NORMAL>;    /* Normal, Vision, OIS etc */
	id = <3>;
	csi_ch = <2>;
	dma_ch = <2 2 2 2>;
	vc_ch = <0 1 2 3>;
	flite_ch = <FLITE_ID_NOTHING>;
	is_bns = <0>;
	status = "okay";

	interrupts = <0 INTREQ__CSIS2 IRQ_TYPE_LEVEL_HIGH>, /* MIPI-CSI2 */
		<0 INTREQ__CSIS_DMA2 IRQ_TYPE_LEVEL_HIGH>,
		<0 INTREQ__CSIS_DMA2 IRQ_TYPE_LEVEL_HIGH>,
		<0 INTREQ__CSIS_DMA2 IRQ_TYPE_LEVEL_HIGH>,
		<0 INTREQ__CSIS_DMA2 IRQ_TYPE_LEVEL_HIGH>;
	interrupt-names = "csi",
		"mode0_VC0", "mode0_VC1","mode0_VC2","mode0_VC3";
	sensor2_ch_mode0: sensor2-ch-mode0 {
		reg = <0x150C3000 0x100>, /* DMA2 VC0 */
			<0x150C3400 0x100>, /* DMA2 Common */
			<0x150C3100 0x100>, /* DMA2 VC1 */
			<0x150C3400 0x100>, /* DMA2 Common */
			<0x150C3200 0x100>, /* DMA2 VC2 */
			<0x150C3400 0x100>, /* DMA2 Common */
			<0x150C3300 0x100>, /* DMA2 VC3 */
			<0x150C3400 0x100>; /* DMA2 Common */
		mux_reg = <0x1502041C 0x4>; /* DMA2 input mux */
	};

};

&is_sensor3 {
	#address-cells = <1>;
	#size-cells = <1>;
	scenario = <SENSOR_SCENARIO_NORMAL>;    /* Normal, Vision, OIS etc */
	id = <2>;
	csi_ch = <3>;
	dma_ch = <3 3 3 3>;
	vc_ch = <0 1 2 3>;
	flite_ch = <FLITE_ID_NOTHING>;
	is_bns = <0>;
	status = "okay";

	interrupts = <0 INTREQ__CSIS3 IRQ_TYPE_LEVEL_HIGH>, /* MIPI-CSI2 */
		<0 INTREQ__CSIS_DMA3 IRQ_TYPE_LEVEL_HIGH>,
		<0 INTREQ__CSIS_DMA3 IRQ_TYPE_LEVEL_HIGH>,
		<0 INTREQ__CSIS_DMA3 IRQ_TYPE_LEVEL_HIGH>,
		<0 INTREQ__CSIS_DMA3 IRQ_TYPE_LEVEL_HIGH>;
	interrupt-names = "csi",
		"mode0_VC0", "mode0_VC1","mode0_VC2","mode0_VC3";
	/* without PAF HW */
	sensor3_ch_mode0: sensor3-ch-mode0 {
		reg = <0x150C4000 0x100>, /* DMA3 VC0 */
			<0x150C4400 0x100>, /* DMA3 Common */
			<0x150C4100 0x100>, /* DMA3 VC1 */
			<0x150C4400 0x100>, /* DMA3 Common */
			<0x150C4200 0x100>, /* DMA3 VC2 */
			<0x150C4400 0x100>, /* DMA3 Common */
			<0x150C4300 0x100>, /* DMA3 VC3 */
			<0x150C4400 0x100>; /* DMA3 Common */
		mux_reg = <0x15020420 0x4>; /* DMA3 input mux */
	};
};

&is_sensor4 {
	#address-cells = <1>;
	#size-cells = <1>;
	scenario = <SENSOR_SCENARIO_NORMAL>;    /* Normal, Vision, OIS etc */
	id = <4>;
	csi_ch = <4>;
	dma_ch = <3 3 3 3>;
	vc_ch = <0 1 2 3>;
	flite_ch = <FLITE_ID_NOTHING>;
	is_bns = <0>;
	status = "okay";
	reg-names = "csi", "phy";
	interrupts = <0 INTREQ__CSIS4 IRQ_TYPE_LEVEL_HIGH>, /* MIPI-CSI4 */
		   <0 INTREQ__CSIS_DMA3 IRQ_TYPE_LEVEL_HIGH>,
		   <0 INTREQ__CSIS_DMA3 IRQ_TYPE_LEVEL_HIGH>,
		   <0 INTREQ__CSIS_DMA3 IRQ_TYPE_LEVEL_HIGH>,
		   <0 INTREQ__CSIS_DMA3 IRQ_TYPE_LEVEL_HIGH>;
	interrupt-names = "csi",
		"mode0_VC0", "mode0_VC1","mode0_VC2","mode0_VC3";
	sensor4_ch_mode0: sensor4-ch-mode0 {
		reg = <0x150C4000 0x100>, /* DMA3 VC0 */
			<0x150C4400 0x100>, /* DMA3 Common */
			<0x150C4100 0x100>, /* DMA3 VC1 */
			<0x150C4400 0x100>, /* DMA3 Common */
			<0x150C4200 0x100>, /* DMA3 VC2 */
			<0x150C4400 0x100>, /* DMA3 Common */
			<0x150C4300 0x100>, /* DMA3 VC3 */
			<0x150C4400 0x100>; /* DMA3 Common */
		mux_reg = <0x15020420 0x4>; /* DMA3 input mux */
	};
};

/* FLASH-LED : leds-s2mu106 */
&hsi2c_5 {
	s2mu106@3D {
		reg = <0x3D>;
		pinctrl-names = "default","flash_suspend";
		pinctrl-1 = <&flash_off_state>;
		flash_led {
			default_current = <50>;
			max_current = <200>;
			default_timer = <0>;
			flash-gpio = <&gpp3 0 0>;
			torch-gpio = <&gpp3 1 0>;
			flash_current = <1400>;
			preflash_current = <200>;
			torch_current = <125>;
			movie_current = <200>;
			factory_current = <350>;
			flashlight_current = <50 80 100 180 240>;
			status = "okay";
		};
	};
};

